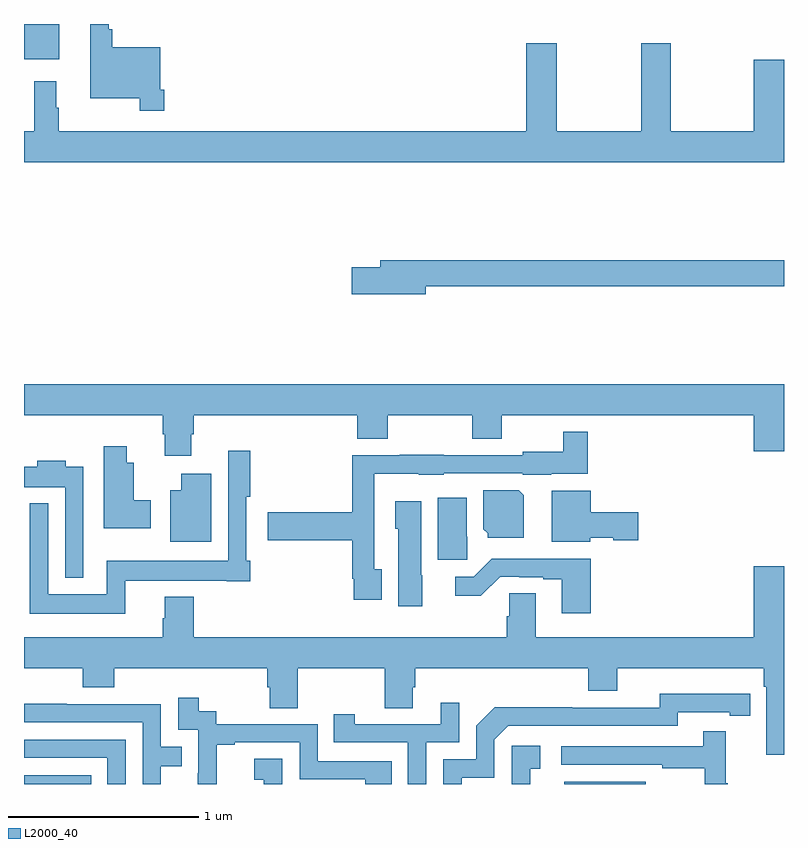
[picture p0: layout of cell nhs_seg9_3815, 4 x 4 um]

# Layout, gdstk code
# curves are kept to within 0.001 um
import gdstk
lib = gdstk.Library(unit=1e-6, precision=1e-09)
def R(c, l, rs):  # rectangles x0, y0, x1, y1
    for r in rs: c.add(gdstk.rectangle(r[:2], r[2:], *l))
def P(c, l, *ps):  # polygons
    for p in ps: c.add(gdstk.Polygon(p, *l))
L2000_40 = (2000, 40)

nhs_seg9_3815 = lib.new_cell('nhs_seg9_3815')
R(nhs_seg9_3815, L2000_40, [(329,1174.5,329.354,1174.546), (331.844,1174.5,332.272,1174.513), (329,1178.315,329.185,1178.5), (331.85,1178.498,332.2,1178.5)])
P(nhs_seg9_3815, L2000_40, [(329.738,1178.155),(329.718,1178.155),(329.718,1178.377),(329.465,1178.377),(329.465,1178.473),(329.445,1178.473),(329.445,1178.5),(329.348,1178.5),(329.348,1178.108),(329.61,1178.108),(329.61,1178.043),(329.738,1178.043)],
  [(333,1178.311),(332.84,1178.311),(332.84,1177.936),(332.403,1177.936),(332.403,1178.398),(332.248,1178.398),(332.248,1177.936),(331.803,1177.936),(331.803,1178.398),(331.643,1178.398),(331.643,1177.936),(329.182,1177.936),(329.182,1178.06),(329.17,1178.06),(329.17,1178.2),(329.053,1178.2),(329.053,1177.936),(329,1177.936),(329,1177.772),(333,1177.772)],
  [(331.114,1177.12),(333,1177.12),(333,1177.256),(330.875,1177.256),(330.875,1177.22),(330.726,1177.22),(330.726,1177.078),(331.114,1177.078)],
  [(329.881,1176.342),(329.894,1176.342),(329.894,1176.44),(330.755,1176.44),(330.755,1176.316),(330.915,1176.316),(330.915,1176.44),(331.36,1176.44),(331.36,1176.316),(331.515,1176.316),(331.515,1176.44),(332.84,1176.44),(332.84,1176.252),(333,1176.252),(333,1176.604),(329,1176.604),(329,1176.44),(329.729,1176.44),(329.729,1176.342),(329.741,1176.342),(329.741,1176.228),(329.881,1176.228)],
  [(330.883,1175.63),(330.843,1175.63),(330.843,1176.134),(331.077,1176.134),(331.077,1176.128),(331.209,1176.128),(331.209,1176.135),(331.626,1176.135),(331.626,1176.128),(331.776,1176.128),(331.776,1176.134),(331.967,1176.134),(331.967,1176.355),(331.839,1176.355),(331.839,1176.25),(331.626,1176.25),(331.626,1176.231),(331.209,1176.231),(331.209,1176.233),(330.977,1176.233),(330.977,1176.231),(330.727,1176.231),(330.727,1175.93),(330.282,1175.93),(330.282,1175.783),(330.727,1175.783),(330.727,1175.581),(330.735,1175.581),(330.735,1175.469),(330.883,1175.469)],
  [(329.668,1175.994),(329.578,1175.994),(329.578,1176.19),(329.542,1176.19),(329.542,1176.277),(329.42,1176.277),(329.42,1175.846),(329.668,1175.846)],
  [(329.534,1175.57),(330.068,1175.57),(330.068,1175.568),(330.191,1175.568),(330.191,1175.674),(330.171,1175.674),(330.171,1176.013),(330.191,1176.013),(330.191,1176.253),(330.075,1176.253),(330.075,1175.674),(329.436,1175.674),(329.436,1175.5),(329.127,1175.5),(329.127,1175.977),(329.03,1175.977),(329.03,1175.396),(329.534,1175.396)],
  [(329.313,1176.169),(329.221,1176.169),(329.221,1176.202),(329.069,1176.202),(329.069,1176.169),(329,1176.169),(329,1176.062),(329.217,1176.062),(329.217,1175.585),(329.313,1175.585)],
  [(329.986,1176.133),(329.828,1176.133),(329.828,1176.046),(329.771,1176.046),(329.771,1175.774),(329.986,1175.774)],
  [(331.63,1176.02),(331.604,1176.046),(331.418,1176.046),(331.418,1175.842),(331.44,1175.82),(331.44,1175.795),(331.63,1175.795)],
  [(331.98,1175.795),(332.1,1175.795),(332.1,1175.783),(332.233,1175.783),(332.233,1175.93),(331.984,1175.93),(331.984,1176.044),(331.778,1176.044),(331.778,1175.774),(331.98,1175.774)],
  [(331.334,1175.802),(331.33,1175.802),(331.33,1176.007),(331.178,1176.007),(331.178,1175.679),(331.334,1175.679)],
  [(331.096,1175.598),(331.09,1175.598),(331.09,1175.989),(330.953,1175.989),(330.953,1175.844),(330.971,1175.844),(330.971,1175.436),(331.096,1175.436)],
  [(331.982,1175.686),(331.462,1175.686),(331.368,1175.592),(331.269,1175.592),(331.269,1175.49),(331.404,1175.49),(331.506,1175.592),(331.606,1175.592),(331.606,1175.589),(331.733,1175.589),(331.733,1175.577),(331.829,1175.577),(331.829,1175.4),(331.982,1175.4)],
  [(333,1175.647),(332.84,1175.647),(332.84,1175.272),(331.693,1175.272),(331.693,1175.504),(331.554,1175.504),(331.554,1175.382),(331.541,1175.382),(331.541,1175.272),(329.894,1175.272),(329.894,1175.485),(329.741,1175.485),(329.741,1175.373),(329.729,1175.373),(329.729,1175.272),(329,1175.272),(329,1175.108),(329.309,1175.108),(329.309,1175.009),(329.474,1175.009),(329.474,1175.108),(330.281,1175.108),(330.281,1175.01),(330.293,1175.01),(330.293,1174.9),(330.441,1174.9),(330.441,1175.108),(330.898,1175.108),(330.898,1174.9),(331.045,1174.9),(331.045,1175.01),(331.058,1175.01),(331.058,1175.108),(331.97,1175.108),(331.97,1174.991),(332.122,1174.991),(332.122,1175.108),(332.894,1175.108),(332.894,1175.012),(332.907,1175.012),(332.907,1174.653),(333,1174.653)],
  [(331.303,1174.533),(331.476,1174.533),(331.476,1174.734),(331.548,1174.806),(332.442,1174.806),(332.442,1174.878),(332.714,1174.878),(332.714,1174.858),(332.822,1174.858),(332.822,1174.974),(332.346,1174.975),(332.346,1174.902),(331.886,1174.902),(331.886,1174.904),(331.478,1174.904),(331.38,1174.806),(331.38,1174.629),(331.206,1174.629),(331.206,1174.5),(331.303,1174.5)],
  [(330.014,1174.707),(330.109,1174.707),(330.109,1174.719),(330.45,1174.719),(330.45,1174.524),(330.795,1174.524),(330.795,1174.5),(330.935,1174.5),(330.935,1174.62),(330.546,1174.62),(330.546,1174.815),(330.012,1174.815),(330.012,1174.884),(329.92,1174.884),(329.92,1174.954),(329.811,1174.954),(329.811,1174.785),(329.916,1174.785),(329.916,1174.556),(329.915,1174.556),(329.915,1174.5),(330.014,1174.5)],
  [(331.116,1174.719),(331.29,1174.719),(331.29,1174.927),(331.193,1174.927),(331.193,1174.815),(330.742,1174.815),(330.742,1174.867),(330.631,1174.867),(330.631,1174.719),(331.02,1174.719),(331.02,1174.5),(331.116,1174.5)],
  [(329.721,1174.594),(329.831,1174.594),(329.831,1174.695),(329.721,1174.695),(329.721,1174.92),(329.225,1174.92),(329.225,1174.922),(329,1174.922),(329,1174.824),(329.625,1174.824),(329.625,1174.5),(329.721,1174.5)],
  [(332.704,1174.505),(332.693,1174.505),(332.693,1174.777),(332.575,1174.777),(332.575,1174.698),(331.827,1174.698),(331.827,1174.602),(332.359,1174.602),(332.359,1174.582),(332.583,1174.582),(332.583,1174.5),(332.704,1174.5)],
  [(329.535,1174.734),(329.001,1174.734),(329.001,1174.638),(329.439,1174.638),(329.439,1174.5),(329.535,1174.5)],
  [(331.664,1174.581),(331.717,1174.581),(331.717,1174.702),(331.566,1174.702),(331.566,1174.5),(331.664,1174.5)],
  [(330.36,1174.633),(330.213,1174.633),(330.213,1174.523),(330.262,1174.523),(330.262,1174.5),(330.36,1174.5)])

lib.write_gds('nhs_seg9_3815.gds')
